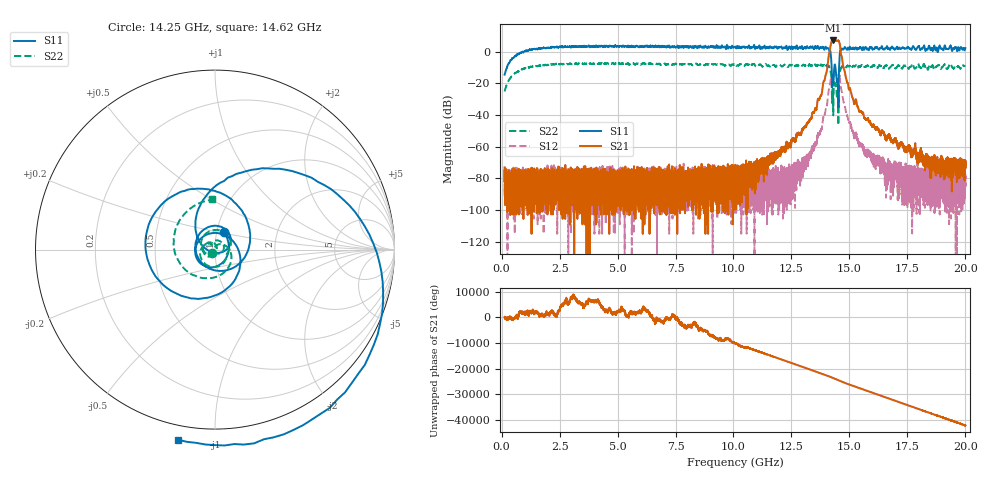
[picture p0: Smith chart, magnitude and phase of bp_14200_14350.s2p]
!Created with skrf (http://scikit-rf.org).
# GHz S RI R 50.0
!freq ReS11 ImS11 ReS21 ImS21 ReS12 ImS12 ReS22 ImS22
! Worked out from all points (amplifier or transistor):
!   20013 points, 130 MHz to 20 GHz, reference 50 ohm
!   highest |S21| = 7.1 dB at 14.3 GHz (marker M1)
!   |S21| within 3 dB of that: 14.19 GHz to 14.59 GHz (400.3 MHz wide, 2.78 % of centre)
!   unconditionally stable (mu >= 1): start of sweep to 896.4 MHz; 910.6 MHz to 965.4 MHz; 14.2 GHz to 14.58 GHz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
!   at 3.465 GHz: K = -51703002.47, MSG = -2.7 dB, |S12| = -77.5 dB
!   at 10.14 GHz: K = -28416081.68, MSG = -5.7 dB, |S12| = -73.2 dB
!   at 20 GHz: K = -8302904.80, MSG = 2.8 dB, |S12| = -77.2 dB
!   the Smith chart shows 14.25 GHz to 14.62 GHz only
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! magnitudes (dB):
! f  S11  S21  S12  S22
! 130 MHz  -14.5  -73.1  -77.3  -25.2
! 232 MHz  -9.8  -80.7  -76.7  -20.5
! 466 MHz  -4.1  -86.0  -84.9  -15.2
! 977 MHz  0.3  -83.4  -77.9  -10.6
! 3.442 GHz  3.0  -77.9  -80.1  -7.2
! 6.754 GHz  3.2  -81.4  -92.9  -7.9
! 10.06 GHz  3.1  -79.5  -78.4  -7.8
! 11.01 GHz  2.2  -70.8  -91.1  -9.0
! 12.41 GHz  3.2  -58.1  -83.1  -8.5
! 12.91 GHz  2.0  -52.4  -77.8  -9.1
! 13.38 GHz  2.7  -40.7  -63.5  -8.7
! 13.77 GHz  2.5  -27.7  -49.9  -8.0
! 14.09 GHz  2.0  -4.8  -26.4  -9.2
! 14.19 GHz  -1.0  4.0  -17.7  -13.0
! 14.3 GHz  -20.3  7.1  -14.8  -35.2
! 14.48 GHz  -17.9  7.0  -14.9  -25.4
! 14.69 GHz  1.6  -5.5  -26.9  -9.2
! 14.92 GHz  2.1  -19.7  -41.3  -8.8
! 15.42 GHz  1.8  -37.5  -59.3  -9.1
! 16.69 GHz  2.0  -53.2  -70.8  -10.4
! 18.47 GHz  2.1  -70.2  -73.8  -8.8
! 20 GHz  2.3  -71.6  -77.2  -9.1
